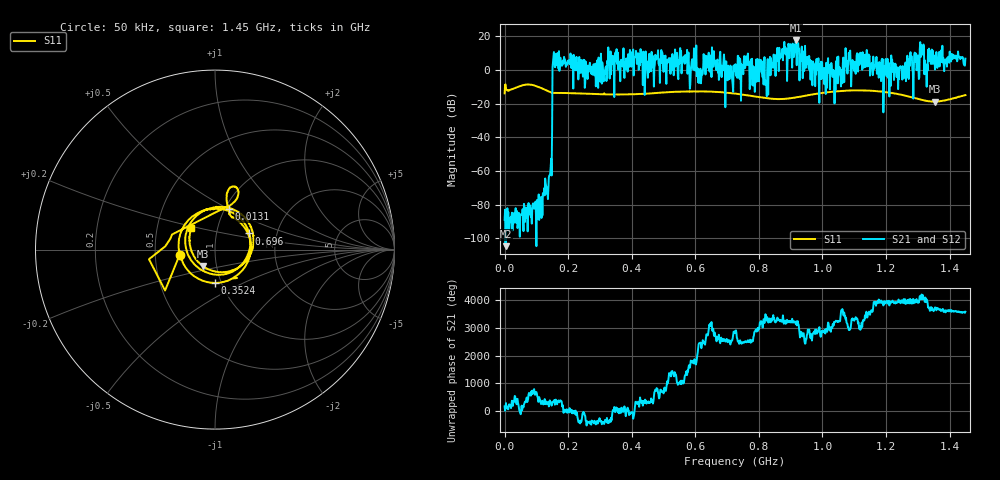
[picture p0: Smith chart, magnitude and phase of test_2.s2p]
! Created with skrf 1.11.0 (http://scikit-rf.org).
# Hz S RI R 50.0
!freq ReS11 ImS11 ReS21 ImS21 ReS12 ImS12 ReS22 ImS22
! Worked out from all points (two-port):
!   1001 points, 50 kHz to 1.45 GHz, reference 50 ohm
!   highest |S21| = 17.44 dB at 916.4 MHz (marker M1); lowest = -104.7 dB at 2.95 MHz (marker M2)
!   |S21| within 3 dB of the highest: 603.2242 MHz to 603.2309 MHz (6.753 kHz wide, 0.00112 % of centre); 914.802 MHz to 917.1945 MHz (2.393 MHz wide, 0.261 % of centre) (the widest 2 of 11)
!   lowest |S11| = -19.0 dB at 1.354 GHz (marker M3), VSWR 1.25, Z = 43.1 - j7.93 ohm
!   |S11| at or under -10 dB: start of sweep to 1.184 MHz; 3.754 MHz to 43.66 MHz (39.9 MHz wide, 168 % of centre); 105 MHz to end of sweep
!   |S22| runs from - to - dB; largest |S21 - S12| = 0
!   S11 on the Smith chart (normalised r, x): 50 kHz: 0.67, -0.04; 13.1 MHz: 1.05, +0.50; 352.4 MHz: 0.93, -0.36; 696 MHz: 1.44, +0.27; 1.45 GHz: 0.75, +0.18
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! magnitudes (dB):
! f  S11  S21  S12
! 50 kHz  -14.0  -89.0  -89.0
! 2.95 MHz  -8.6  -104.7  -104.7
! 13.1 MHz  -12.5  -93.9  -93.9
! 111.7 MHz  -10.5  -79.8  -79.8
! 137.8 MHz  -12.8  -69.7  -69.7
! 142.1 MHz  -13.1  -62.6  -62.6
! 158.1 MHz  -13.7  1.6  1.6
! 242.2 MHz  -14.0  0.9  0.9
! 352.4 MHz  -14.6  12.3  12.3
! 484.3 MHz  -13.6  3.8  3.8
! 696 MHz  -13.5  2.4  2.4
! 725 MHz  -14.1  -0.9  -0.9
! 759.8 MHz  -15.0  8.0  8.0
! 822.2 MHz  -16.8  -8.7  -8.7
! 916.4 MHz  -16.4  17.4  17.4
! 967.2 MHz  -14.7  -1.4  -1.4
! 1.056 GHz  -12.6  -3.1  -3.1
! 1.121 GHz  -12.2  4.3  4.3
! 1.209 GHz  -13.5  3.0  3.0
! 1.314 GHz  -17.8  10.1  10.1
! 1.354 GHz  -19.0  0.2  0.2
! 1.45 GHz  -15.0  6.6  6.6
